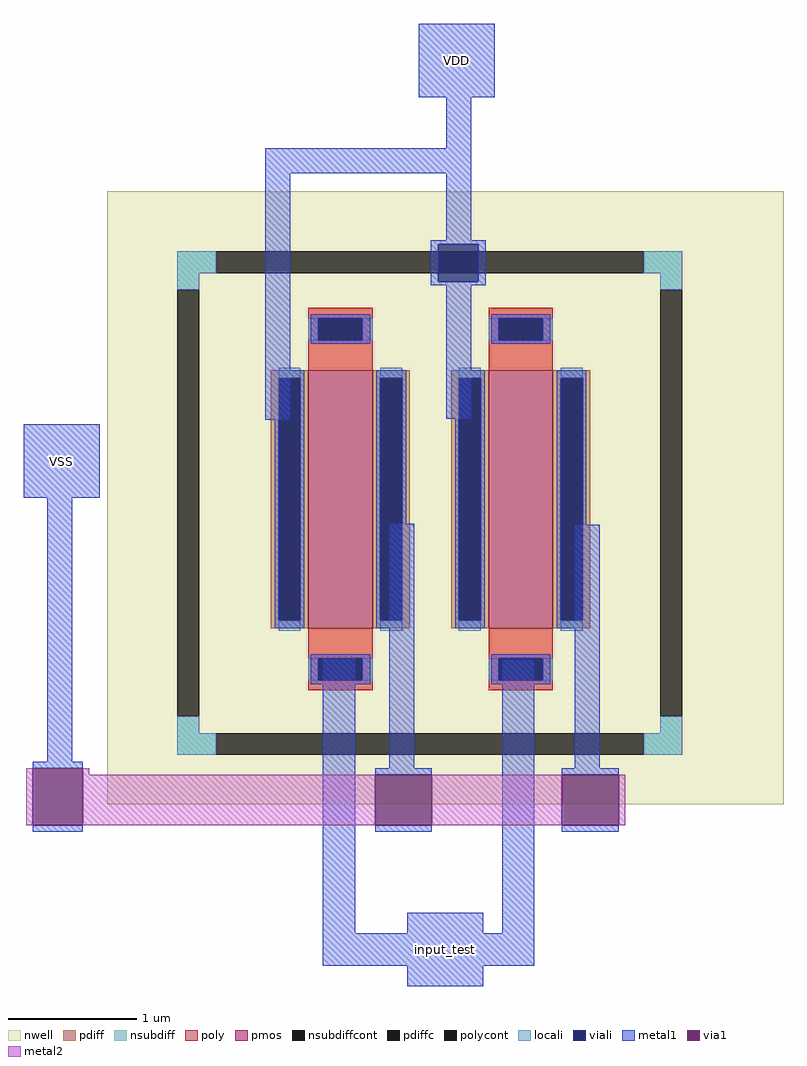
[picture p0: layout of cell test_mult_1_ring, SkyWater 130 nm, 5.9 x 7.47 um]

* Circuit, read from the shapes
.subckt test_mult_1_ring VDD VSS input_test
XM1 VSS input_test VDD VDD sky130_fd_pr__pfet_01v8 w=2 l=0.5 m=2
.ends

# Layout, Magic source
magic
tech sky130B
magscale 1 2
<< nwell >>
rect -362 -474 688 478
<< nsubdiff >>
rect -253 351 -193 385
rect 471 351 531 385
rect -253 325 -219 351
rect -253 -363 -219 -337
rect 497 325 531 351
rect 497 -363 531 -337
rect -253 -397 -193 -363
rect 471 -397 531 -363
<< nsubdiffcont >>
rect -193 351 471 385
rect -253 -337 -219 325
rect 497 -337 531 325
rect -193 -397 471 -363
<< locali >>
rect -253 351 -193 385
rect 471 351 531 385
rect -253 325 -219 351
rect -253 -363 -219 -337
rect 497 325 531 351
rect 497 -363 531 -337
rect -253 -397 -193 -363
rect 471 -397 531 -363
<< viali >>
rect 152 385 214 396
rect 152 351 214 385
rect 152 338 214 351
<< metal1 >>
rect 122 624 240 738
rect 164 545 203 624
rect -117 506 203 545
rect -117 123 -78 506
rect 164 402 203 506
rect 140 396 226 402
rect 140 338 152 396
rect 214 338 226 396
rect 140 332 226 338
rect 164 125 203 332
rect -492 2 -374 116
rect -455 -408 -416 2
rect -478 -418 -400 -408
rect -478 -516 -400 -506
rect -27 -674 23 -247
rect 76 -418 115 -38
rect 54 -428 142 -418
rect 54 -516 142 -506
rect 104 -674 222 -642
rect 251 -674 301 -249
rect 364 -418 403 -40
rect 344 -428 432 -418
rect 344 -516 432 -506
rect -27 -724 301 -674
rect 104 -756 222 -724
<< via1 >>
rect -478 -506 -400 -418
rect 54 -506 142 -428
rect 344 -506 432 -428
<< metal2 >>
rect -488 -506 -478 -418
rect -400 -428 -390 -418
rect -400 -506 54 -428
rect 142 -506 344 -428
rect 432 -506 442 -428
use sky130_fd_pr__pfet_01v8_PC7DPC  xm1
transform 1 0 0 0 1 0
box -144 -300 144 300
use sky130_fd_pr__pfet_01v8_PC7DPC  xm2
transform 1 0 280 0 1 0
box -144 -300 144 300
<< labels >>
rlabel metal1 -492 2 -374 116 1 VSS
port 2 n
rlabel metal1 122 624 240 738 1 VDD
port 1 n
rlabel metal1 104 -756 222 -642 1 input_test
port 3 n
<< end >>

# cell sky130_fd_pr__pfet_01v8_PC7DPC: kit device sky130_fd_pr__pfet_01v8, w 2 l 0.5 m 1 nf 1 diffcov 100 polycov 100 guard 0 glc 1 grc 1 gtc 1 gbc 1 tbcov 100 rlcov 100 topc 1 botc 1 poverlap 0 doverlap 1 lmin 0.15 wmin 0.42 class mosfet compatible {sky130_fd_pr__pfet_01v8 sky130_fd_pr__pfet_01v8_lvt sky130_fd_pr__pfet_01v8_hvt sky130_fd_pr__pfet_g5v0d10v5} full_metal 0 viasrc 100 viadrn 100 viagate 100 viagb 0 viagr 0 viagl 0 viagt 0
